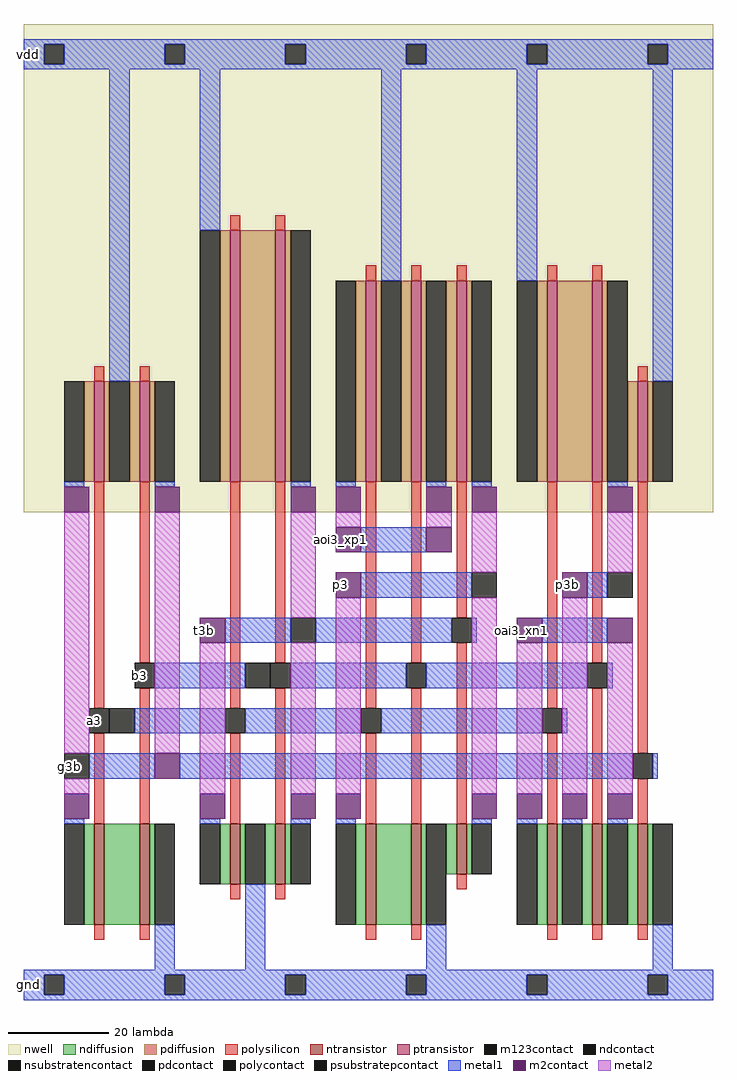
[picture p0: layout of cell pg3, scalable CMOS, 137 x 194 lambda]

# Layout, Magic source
magic
tech scmos
<< nwell >>
rect 0 97 137 194
<< ntransistor >>
rect 14 15 16 35
rect 23 15 25 35
rect 41 23 43 35
rect 50 23 52 35
rect 68 15 70 35
rect 77 15 79 35
rect 86 25 88 35
rect 104 15 106 35
rect 113 15 115 35
rect 122 15 124 35
<< ptransistor >>
rect 14 103 16 123
rect 23 103 25 123
rect 41 103 43 153
rect 50 103 52 153
rect 68 103 70 143
rect 77 103 79 143
rect 86 103 88 143
rect 104 103 106 143
rect 113 103 115 143
rect 122 103 124 123
<< ndiffusion >>
rect 12 15 14 35
rect 16 15 23 35
rect 25 15 26 35
rect 39 23 41 35
rect 43 23 44 35
rect 48 23 50 35
rect 52 23 53 35
rect 66 15 68 35
rect 70 15 77 35
rect 79 15 80 35
rect 84 25 86 35
rect 88 25 89 35
rect 102 15 104 35
rect 106 15 107 35
rect 111 15 113 35
rect 115 15 116 35
rect 120 15 122 35
rect 124 15 125 35
<< pdiffusion >>
rect 12 103 14 123
rect 16 103 17 123
rect 21 103 23 123
rect 25 103 26 123
rect 39 103 41 153
rect 43 103 50 153
rect 52 103 53 153
rect 66 103 68 143
rect 70 103 71 143
rect 75 103 77 143
rect 79 103 80 143
rect 84 103 86 143
rect 88 103 89 143
rect 102 103 104 143
rect 106 103 113 143
rect 115 103 116 143
rect 120 103 122 123
rect 124 103 125 123
<< ndcontact >>
rect 8 15 12 35
rect 26 15 30 35
rect 35 23 39 35
rect 44 23 48 35
rect 53 23 57 35
rect 62 15 66 35
rect 80 15 84 35
rect 89 25 93 35
rect 98 15 102 35
rect 107 15 111 35
rect 116 15 120 35
rect 125 15 129 35
<< pdcontact >>
rect 8 103 12 123
rect 17 103 21 123
rect 26 103 30 123
rect 35 103 39 153
rect 53 103 57 153
rect 62 103 66 143
rect 71 103 75 143
rect 80 103 84 143
rect 89 103 93 143
rect 98 103 102 143
rect 116 103 120 143
rect 125 103 129 123
<< psubstratepcontact >>
rect 4 1 8 5
rect 28 1 32 5
rect 52 1 56 5
rect 76 1 80 5
rect 100 1 104 5
rect 124 1 128 5
<< nsubstratencontact >>
rect 4 186 8 190
rect 28 186 32 190
rect 52 186 56 190
rect 76 186 80 190
rect 100 186 104 190
rect 124 186 128 190
<< polysilicon >>
rect 41 153 43 156
rect 50 153 52 156
rect 14 123 16 126
rect 23 123 25 126
rect 68 143 70 146
rect 77 143 79 146
rect 86 143 88 146
rect 104 143 106 146
rect 113 143 115 146
rect 122 123 124 126
rect 14 58 16 103
rect 23 67 25 103
rect 14 35 16 53
rect 23 35 25 62
rect 41 58 43 103
rect 50 67 52 103
rect 41 35 43 53
rect 50 35 52 62
rect 68 58 70 103
rect 77 67 79 103
rect 86 76 88 103
rect 68 35 70 53
rect 77 35 79 62
rect 86 35 88 71
rect 104 58 106 103
rect 113 67 115 103
rect 104 35 106 53
rect 113 35 115 62
rect 122 49 124 103
rect 122 35 124 44
rect 41 20 43 23
rect 50 20 52 23
rect 86 22 88 25
rect 14 12 16 15
rect 23 12 25 15
rect 68 12 70 15
rect 77 12 79 15
rect 104 12 106 15
rect 113 12 115 15
rect 122 12 124 15
<< polycontact >>
rect 22 62 26 67
rect 13 53 17 58
rect 49 62 53 67
rect 40 53 44 58
rect 85 71 89 76
rect 76 62 80 67
rect 67 53 71 58
rect 112 62 116 67
rect 103 53 107 58
rect 121 44 125 49
<< metal1 >>
rect 0 190 137 191
rect 0 186 4 190
rect 8 186 28 190
rect 32 186 52 190
rect 56 186 76 190
rect 80 186 100 190
rect 104 186 124 190
rect 128 186 137 190
rect 0 185 137 186
rect 17 123 21 185
rect 35 153 39 185
rect 71 143 75 185
rect 98 143 102 185
rect 8 102 12 103
rect 26 102 30 103
rect 53 102 57 103
rect 62 102 66 103
rect 80 102 84 103
rect 125 123 129 185
rect 89 102 93 103
rect 116 102 120 103
rect 67 89 80 94
rect 67 80 89 85
rect 112 80 116 85
rect 40 71 53 76
rect 58 71 85 76
rect 89 71 90 76
rect 103 71 116 76
rect 26 62 44 67
rect 53 62 76 67
rect 80 62 112 67
rect 116 62 117 67
rect 22 53 40 58
rect 44 53 67 58
rect 71 53 103 58
rect 107 53 108 58
rect 13 44 26 49
rect 31 44 121 49
rect 125 44 126 49
rect 8 35 12 36
rect 35 35 39 36
rect 53 35 57 36
rect 62 35 66 36
rect 89 35 93 36
rect 26 6 30 15
rect 44 6 48 23
rect 98 35 102 36
rect 107 35 111 36
rect 116 35 120 36
rect 80 6 84 15
rect 125 6 129 15
rect 0 5 137 6
rect 0 1 4 5
rect 8 1 28 5
rect 32 1 52 5
rect 56 1 76 5
rect 80 1 100 5
rect 104 1 124 5
rect 128 1 137 5
rect 0 0 137 1
<< m2contact >>
rect 8 97 13 102
rect 26 97 31 102
rect 53 97 58 102
rect 62 97 67 102
rect 80 97 85 102
rect 89 97 94 102
rect 116 97 121 102
rect 62 89 67 94
rect 80 89 85 94
rect 62 80 67 85
rect 107 80 112 85
rect 35 71 40 76
rect 98 71 103 76
rect 116 71 121 76
rect 26 44 31 49
rect 8 36 13 41
rect 35 36 40 41
rect 53 36 58 41
rect 62 36 67 41
rect 89 36 94 41
rect 98 36 103 41
rect 107 36 112 41
rect 116 36 121 41
<< metal2 >>
rect 8 49 13 97
rect 26 49 31 97
rect 53 76 58 97
rect 62 94 67 97
rect 80 94 85 97
rect 89 85 94 97
rect 116 85 121 97
rect 8 41 13 44
rect 35 41 40 71
rect 53 41 58 71
rect 62 41 67 80
rect 89 41 94 80
rect 98 41 103 71
rect 107 41 112 80
rect 116 41 121 71
<< m123contact >>
rect 17 53 22 58
rect 8 44 13 49
rect 53 71 58 76
rect 44 62 49 67
rect 89 80 94 85
rect 116 80 121 85
<< labels >>
rlabel metal1 13 53 15 58 0 a3
port 1 nsew
rlabel metal1 22 62 24 67 0 b3
port 2 nsew
rlabel metal1 8 44 10 49 0 g3b
port 3 nsew
rlabel m2contact 62 80 64 85 0 p3
port 4 nsew
rlabel m2contact 107 80 109 85 0 p3b
port 5 nsew
rlabel m2contact 35 71 37 76 0 t3b
port 6 nsew
rlabel m2contact 62 89 64 94 0 aoi3_xp1
rlabel m2contact 98 71 100 76 0 oai3_xn1
rlabel metal1 0 185 2 191 0 vdd
port 7 nsew
rlabel metal1 0 0 2 6 0 gnd
port 8 nsew
<< end >>
